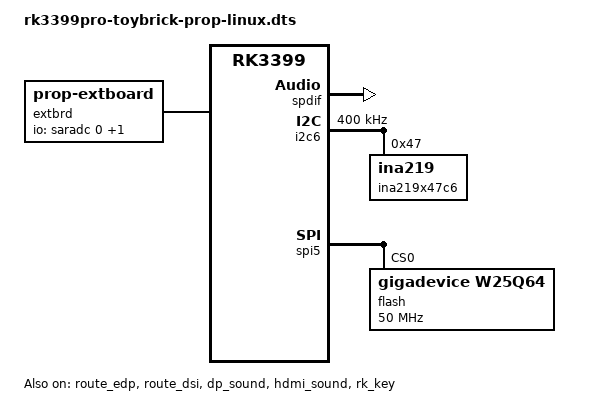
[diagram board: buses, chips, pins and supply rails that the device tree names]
/dts-v1/;
#include "rk3399pro-toybrick-prop.dtsi"

#include "rk3399-android.dtsi"
/* Default camera: ov9750 */
#include "rk3399pro-toybrick-ov9750.dtsi"
//#include "rk3399pro-toybrick-imx258.dtsi"
/ {
	compatible = "rockchip,rk3399pro-toybrick-evb-linux","rockchip,rk3399pro";
	extbrd: extbrd {
		compatible = "prop-extboard";
		io-channels = <&saradc 0>, <&saradc 1>;
	};
};

&route_edp {
	status = "okay";
};

&route_dsi {
	status = "okay";
};

&spdif {
	status = "okay";
};

&dp_sound {
	status = "okay";
};

&hdmi_dp_sound {
	status = "disabled";
};

&hdmi_sound {
	status = "okay";
};

&i2c6 {
	status = "okay";
	i2c-scl-rising-time-ns = <300>;
	i2c-scl-falling-time-ns = <15>;
	clock-frequency=<400000>;

	ina219x47c6: ina219@47 {
		compatible = "ina219";
		reg = <0x47>;
	};
};

&fiq_debugger {
	pinctrl-0 = <&uart2c_xfer>;
};

&rk_key {
	status = "okay";
	io-channels = <&saradc 2>;
	/delete-node/ power-key;
};

&spi5 {
	status = "okay";

	flash@0 {
		compatible = "gigadevice,w25q64", "jedec,spi-nor";
		#address-cells = <1>;
		#size-cells = <1>;
		reg = <0>;
		m25p,fast-read;
		// The max SCLK of the flash 104/80 MHZ
		spi-max-frequency = <50000000>;
	};
};
